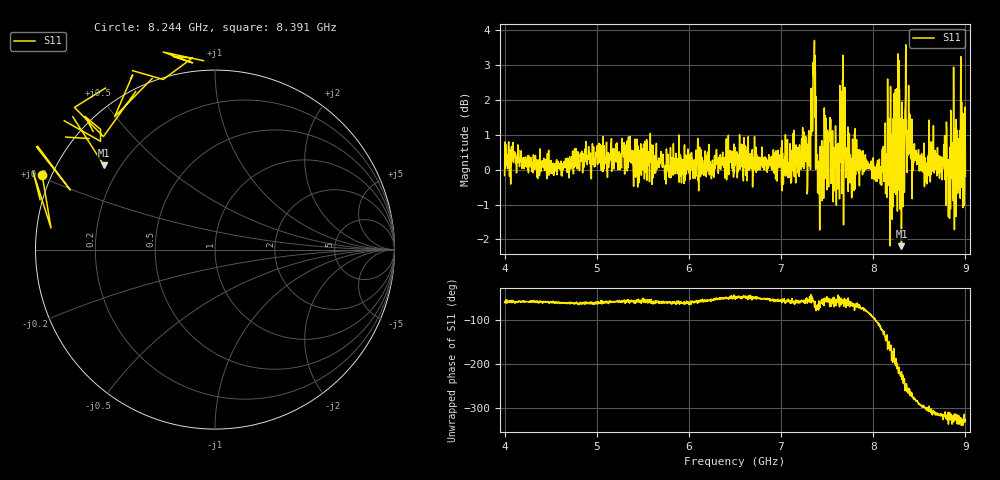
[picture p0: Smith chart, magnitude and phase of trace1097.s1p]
! Created with skrf 1.8.0 (http://scikit-rf.org).
# Hz S RI R 50.0
!freq ReS11 ImS11
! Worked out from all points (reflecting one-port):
!   1601 points, 4 GHz to 9 GHz, reference 50 ohm
!   lowest |S11| = -2.2 dB at 8.306 GHz (marker M1), VSWR 7.96, Z = 6.98 + j16.5 ohm
!   phase of S11 starts at -59 deg and turns -270 deg over the sweep
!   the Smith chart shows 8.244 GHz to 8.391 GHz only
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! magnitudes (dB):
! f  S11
! 4 GHz  -0.2
! 4.625 GHz  -0.2
! 5.25 GHz  0.0
! 5.875 GHz  -0.1
! 6.5 GHz  0.6
! 7.125 GHz  0.5
! 7.297 GHz  0.8
! 7.347 GHz  3.1
! 7.369 GHz  3.3
! 7.4 GHz  0.2
! 7.422 GHz  -0.4
! 7.512 GHz  0.3
! 7.609 GHz  0.0
! 7.669 GHz  2.5
! 7.703 GHz  -0.2
! 7.75 GHz  0.4
! 8.066 GHz  0.3
! 8.178 GHz  0.7
! 8.188 GHz  2.4
! 8.262 GHz  -1.2
! 8.306 GHz  -2.2
! 8.375 GHz  0.4
! 8.447 GHz  0.7
! 8.556 GHz  -0.5
! 8.775 GHz  1.0
! 8.812 GHz  -0.1
! 8.956 GHz  0.4
! 9 GHz  -0.2
